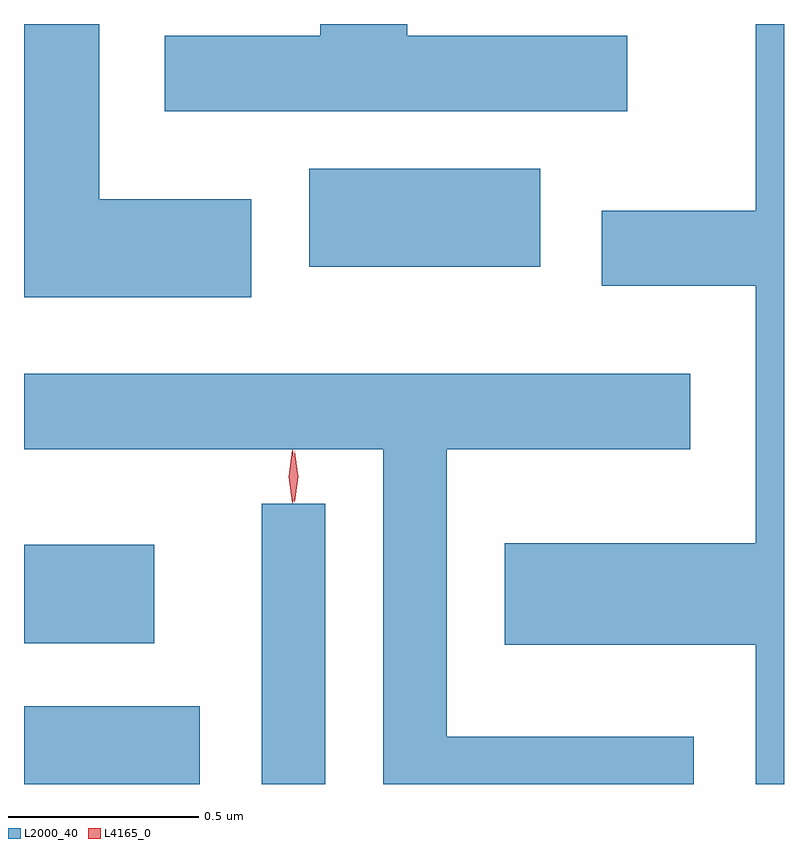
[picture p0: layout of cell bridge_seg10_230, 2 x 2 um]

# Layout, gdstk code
import gdstk
lib = gdstk.Library(unit=1e-6, precision=1e-09)
def R(c, l, rs):  # rectangles x0, y0, x1, y1
    for r in rs: c.add(gdstk.rectangle(r[:2], r[2:], *l))
def P(c, l, *ps):  # polygons
    for p in ps: c.add(gdstk.Polygon(p, *l))
L2000_40 = (2000, 40)
L4165_0 = (4165, 0)

bridge_seg10_230 = lib.new_cell('bridge_seg10_230')
R(bridge_seg10_230, L2000_40, [(1801.886,2141.435,1802.349,2141.639), (1802.511,2141.435,1802.679,2142.173), (1801.886,2141.806,1802.229,2142.064), (1802.636,2142.796,1803.244,2143.054)])
P(bridge_seg10_230, L2000_40, [(1803.151,2142.069),(1803.151,2141.801),(1803.811,2141.801),(1803.811,2141.435),(1803.886,2141.435),(1803.886,2143.435),(1803.811,2143.435),(1803.811,2142.944),(1803.406,2142.944),(1803.406,2142.746),(1803.811,2142.746),(1803.811,2142.069)],
  [(1802.484,2142.974),(1802.084,2142.974),(1802.084,2143.435),(1801.886,2143.435),(1801.886,2142.716),(1802.484,2142.716)],
  [(1803.474,2143.404),(1802.894,2143.404),(1802.894,2143.435),(1802.666,2143.435),(1802.666,2143.404),(1802.256,2143.404),(1802.256,2143.206),(1803.474,2143.206)],
  [(1803.648,2141.559),(1802.999,2141.559),(1802.999,2142.316),(1803.639,2142.316),(1803.639,2142.514),(1801.886,2142.514),(1801.886,2142.316),(1802.831,2142.316),(1802.831,2141.435),(1803.648,2141.435)])
P(bridge_seg10_230, L4165_0, [(1802.597,2142.178),(1802.588,2142.244),(1802.598,2142.31),(1802.598,2142.311),(1802.599,2142.31),(1802.608,2142.244),(1802.598,2142.178),(1802.598,2142.178)],
  [(1802.593,2142.174),(1802.592,2142.175),(1802.583,2142.244),(1802.592,2142.313),(1802.593,2142.314),(1802.593,2142.313),(1802.603,2142.244),(1802.593,2142.175)])

lib.write_gds('bridge_seg10_230.gds')
